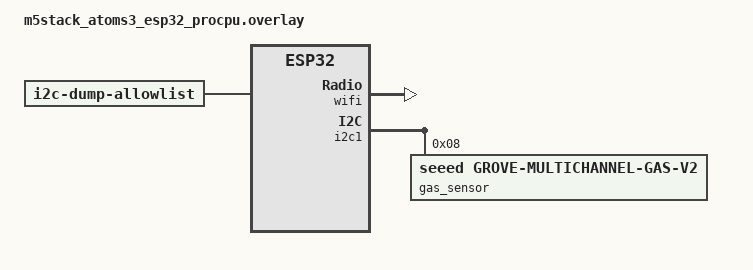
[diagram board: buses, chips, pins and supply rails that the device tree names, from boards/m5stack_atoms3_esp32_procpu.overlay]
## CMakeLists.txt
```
#-------------------------------------------------------------------------------
# Zephyr Example Application
#
# Copyright (c) 2021 Nordic Semiconductor ASA
# SPDX-License-Identifier: Apache-2.0

cmake_minimum_required(VERSION 3.13.1)
find_package(Zephyr REQUIRED HINTS $ENV{ZEPHYR_BASE})

project(app LANGUAGES C)

target_sources(app PRIVATE
        src/main.c
        src/sensor_acquisition.c
        src/inference.cpp
        )

target_sources_ifdef(CONFIG_DISPLAY app PRIVATE
        src/gui.c
        src/gui_screens/live_chart.c
        )

target_sources_ifdef(CONFIG_APP_MQTT app PRIVATE
        src/mqtt.c
        )

include(edge-impulse-sdk/cmake/utils.cmake)

# Add the Edge Impulse SDK
add_subdirectory(edge-impulse-sdk/cmake/zephyr)

# Add model sources
target_sources(app PRIVATE
    tflite-model/tflite_learn_143_compiled.cpp
    )

# Edge impulse SDK include directories
set(INCLUDES
    .
    include
    tflite-model
    model-parameters
    )
include_directories(${INCLUDES})
```

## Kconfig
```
# Copyright (c) 2021 Nordic Semiconductor ASA
# SPDX-License-Identifier: Apache-2.0
#
# This file is the application Kconfig entry point. All application Kconfig
# options can be defined here or included via other application Kconfig files.
# You can browse these options using the west targets menuconfig (terminal) or
# guiconfig (GUI).

menu "Zephyr"
source "Kconfig.zephyr"
endmenu

menu "Artificial Nose"

module = APP
module-str = APP
source "subsys/logging/Kconfig.template.log_config"

config APP_INFERENCE_PERIOD
        int "Model inference period (milliseconds)"
        default 250
        range 50 1000
        help
          How often to run the model inference.

config APP_PRINT_SENSOR_VALUES
        bool "Print sensor values"
        default n
        help
          Print sensor values to the console (useful with the Edge Impulse Forwarder).

menuconfig APP_MQTT
        bool "Enable MQTT"
        default n
        imply NETWORKING
        imply NET_CONNECTION_MANAGER
        imply NET_DHCPV4
        imply DNS_RESOLVER
        imply NET_TCP
        imply MQTT_LIB
        imply HWINFO       # used to compute the client ID
        help
          Enable MQTT support.

if APP_MQTT

config APP_MQTT_BROKER_HOSTNAME
        string "MQTT broker hostname"
        default "broker.hivemq.com"
        help
          Hostname of the MQTT broker.

config APP_MQTT_BROKER_PORT
        int "MQTT broker port"
        default 1883
        help
          Port of the MQTT broker.

endif # APP_MQTT

endmenu # Artificial Nose
```

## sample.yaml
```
# This file is provided so that the application can be compiled using Twister,
# the Zephyr testing tool. In this file, multiple combinations can be specified,
# so that you can easily test all of them locally or in CI.
sample:
  description: Artificial Nose
  name: artificial-nose
common:
  build_only: true
  integration_platforms:
    - m5stack_core2/esp32/procpu
    - wio_terminal
    - m5stack_atoms3/esp32s3/procpu
tests:
  app.default: {}
  app.debug:
    extra_overlay_confs:
      - debug.conf
```

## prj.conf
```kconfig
CONFIG_I2C=y
CONFIG_SENSOR=y
CONFIG_RING_BUFFER=y

CONFIG_SHELL=y
CONFIG_SENSOR_SHELL=y
# General logging stuff
CONFIG_LOG=y
CONFIG_APP_LOG_LEVEL_ERR=y
CONFIG_LOG_BUFFER_SIZE=2048
# I2C logging
# CONFIG_I2C_DUMP_MESSAGES=y
# CONFIG_I2C_LOG_LEVEL_DBG=y
# CONFIG_I2C_DUMP_MESSAGES_ALLOWLIST=y

# Edge Impulse
CONFIG_CPP=y
CONFIG_REQUIRES_FULL_LIBCPP=y

# GUI
CONFIG_DISPLAY=y
CONFIG_LVGL=y
CONFIG_LV_CONF_MINIMAL=y # by using minimal config, we can only use the features we need and save
                         # 10s of KB of ROM
CONFIG_LV_DRAW_COMPLEX=y
CONFIG_LV_Z_MEM_POOL_SIZE=16384
CONFIG_DISPLAY_LOG_LEVEL_ERR=y
CONFIG_LV_MEM_CUSTOM=y
CONFIG_LV_USE_LOG=y
CONFIG_LV_USE_CHART=y
CONFIG_LV_USE_LABEL=y
CONFIG_LV_USE_LINE=y
CONFIG_LV_USE_METER=y
CONFIG_LV_USE_BTN=y
CONFIG_LV_FONT_MONTSERRAT_14=y
CONFIG_LV_FONT_MONTSERRAT_8=y
CONFIG_LV_FONT_DEFAULT_MONTSERRAT_14=y
CONFIG_LV_USE_THEME_DEFAULT=y

# zbus for inter-thread communication
CONFIG_ZBUS=y
CONFIG_ZBUS_RUNTIME_OBSERVERS=y
CONFIG_ZBUS_CHANNEL_NAME=y
CONFIG_ZBUS_LOG_LEVEL_WRN=y

# Networking
CONFIG_NETWORKING=y
CONFIG_NET_TCP=y
CONFIG_HWINFO=y
```

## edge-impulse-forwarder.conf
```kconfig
CONFIG_LOG=n
CONFIG_APP_PRINT_SENSOR_VALUES=y
```

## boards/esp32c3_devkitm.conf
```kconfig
CONFIG_LV_COLOR_16_SWAP=y
# enable entropy generator since it's needed to simulate gas sensor data
CONFIG_ENTROPY_GENERATOR=y
```

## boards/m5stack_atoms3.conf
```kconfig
CONFIG_WIFI=y
CONFIG_NET_L2_ETHERNET=y
CONFIG_NET_L2_WIFI_SHELL=y
CONFIG_NET_IPV6=n
CONFIG_NET_IPV4=y
CONFIG_NET_DHCPV4=y
CONFIG_ESP32_WIFI_STA_AUTO_DHCPV4=y
```

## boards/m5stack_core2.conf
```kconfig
CONFIG_WIFI=y
CONFIG_NET_L2_ETHERNET=y
CONFIG_NET_L2_WIFI_SHELL=y
CONFIG_NET_IPV6=n
CONFIG_NET_IPV4=y
CONFIG_NET_DHCPV4=y
CONFIG_ESP32_WIFI_STA_AUTO_DHCPV4=y

CONFIG_HEAP_MEM_POOL_SIZE=90000
CONFIG_HEAP_MEM_POOL_IGNORE_MIN=y
CONFIG_ESP_SPIRAM=y
CONFIG_ESP32_WIFI_NET_ALLOC_SPIRAM=y
```

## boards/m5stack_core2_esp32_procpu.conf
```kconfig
CONFIG_WIFI=y
CONFIG_NET_L2_ETHERNET=y
CONFIG_NET_L2_WIFI_SHELL=y
CONFIG_NET_IPV6=n
CONFIG_NET_IPV4=y
CONFIG_NET_DHCPV4=y
CONFIG_ESP32_WIFI_STA_AUTO_DHCPV4=y

CONFIG_HEAP_MEM_POOL_SIZE=55000

CONFIG_HEAP_MEM_POOL_IGNORE_MIN=y
CONFIG_ESP_SPIRAM=y
CONFIG_ESP32_WIFI_NET_ALLOC_SPIRAM=y
CONFIG_ESP_SPIRAM_HEAP_SIZE=400000
```

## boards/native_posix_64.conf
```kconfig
CONFIG_HEAP_MEM_POOL_SIZE=1024
CONFIG_TEST_RANDOM_GENERATOR=y # temporary, only for generating fake charts
CONFIG_SDL_DISPLAY_ZOOM_PCT=200
```

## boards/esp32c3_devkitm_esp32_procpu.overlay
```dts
/ {
        chosen {
                zephyr,display = &ili9341;
        };
};

&spi2 {
        ili9341: ili9341@0 {
                compatible = "ilitek,ili9341";
                cmd-data-gpios = <&gpio0 0 GPIO_ACTIVE_LOW>;
                reg = <0x0>;
                spi-max-frequency = <25000000>;
                width = <240>;
                height = <320>;
        };
};
```

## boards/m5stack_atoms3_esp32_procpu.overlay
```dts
&wifi {
	status = "okay";
};


&i2c1 {
	status = "okay";

	gas_sensor: gas_sensor@8 {
		status = "okay";
		compatible = "seeed,grove-multichannel-gas-v2";
		reg = <0x08>;
	};
};

/ {
	i2c-dump-allowlist {
		compatible = "zephyr,i2c-dump-allowlist";
		devices = <&gas_sensor>;
	};
};
```

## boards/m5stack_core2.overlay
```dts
&i2c1 {
	status = "okay";

	/**
	 * Note: VCC on grove port is connected to VBUS output of AXP192
	 * As of Zephyr 3.5, the AXP192 driver does not support VBUS so getting I2C1 to work
	 * requires adding the following lines at the end of regulator_axp192_init():
	 *
	 *	ret = i2c_reg_update_byte_dt(&config->i2c, 0x10, 0x04, 0x04);
	 *	ret = i2c_reg_update_byte_dt(&config->i2c, 0x90, 0x07, 0x07);
	 */

	gas_sensor: gas_sensor@8 {
		status = "okay";
		compatible = "seeed,grove-multichannel-gas-v2";
		reg = <0x08>;
	};
};

/ {
	i2c-dump-allowlist {
		compatible = "zephyr,i2c-dump-allowlist";
		devices = <&gas_sensor>;
	};
};
```

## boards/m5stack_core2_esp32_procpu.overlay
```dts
&wifi {
	status = "okay";

};

&i2c1 {
	status = "okay";

	/**
	 * Note: VCC on grove port is connected to VBUS output of AXP192
	 * As of Zephyr 3.5, the AXP192 driver does not support VBUS so getting I2C1 to work
	 * requires adding the following lines at the end of regulator_axp192_init():
	 *
	 *	ret = i2c_reg_update_byte_dt(&config->i2c, 0x10, 0x04, 0x04);
	 *	ret = i2c_reg_update_byte_dt(&config->i2c, 0x90, 0x07, 0x07);
	 */

	gas_sensor: gas_sensor@8 {
		status = "okay";
		compatible = "seeed,grove-multichannel-gas-v2";
		reg = <0x08>;
	};
};

/ {
	i2c-dump-allowlist {
		compatible = "zephyr,i2c-dump-allowlist";
		devices = <&gas_sensor>;
	};
};

&psram0 {
	status = "okay";
};
```

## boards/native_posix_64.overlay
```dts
/*
 * Copyright (c) 2023, Fabian Blatz <fabianblatz@gmail.com>
 *
 * SPDX-License-Identifier: Apache-2.0
 */

 &sdl_dc {
	compatible = "zephyr,sdl-dc";
	height = <480>;
	width = <640>;
};
```

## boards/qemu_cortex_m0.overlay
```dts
&pinctrl {
	i2c0_default: i2c0_default {
		group1 {
			psels = <NRF_PSEL(TWIM_SDA, 0, 30)>,
				<NRF_PSEL(TWIM_SCL, 0, 0)>;
		};
	};

	i2c0_sleep: i2c0_sleep {
		group1 {
			psels = <NRF_PSEL(TWIM_SDA, 0, 30)>,
				<NRF_PSEL(TWIM_SCL, 0, 0)>;
			low-power-enable;
		};
	};
};


&i2c0 {
        status = "okay";
        pinctrl-0 = <&i2c0_default>;
        pinctrl-1= <&i2c0_sleep>;
};
```

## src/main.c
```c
/*
 * Copyright (c) 2021 Nordic Semiconductor ASA
 * SPDX-License-Identifier: Apache-2.0
 */

#include <zephyr/kernel.h>
#include <zephyr/drivers/sensor.h>
#include <zephyr/zbus/zbus.h>
#include <app_version.h>

#include <zephyr/logging/log.h>
LOG_MODULE_REGISTER(main, CONFIG_APP_LOG_LEVEL);

#include "app_threads.h"
#include "zbus_messages.h"

ZBUS_CHAN_DEFINE(inference_result_chan,       /* Name */
		 struct inference_result_msg, /* Message type */
		 NULL,                        /* Validator */
		 NULL,                        /* User data */
		 ZBUS_OBSERVERS_EMPTY,        /* observers */
		 ZBUS_MSG_INIT(0)             /* Initial value */
);

/*
 * The main thread is used to initialize and start all the threads that participate in the
 * application.
 *
 * - Sensor acquisition thread
 * - GUI thread
 * - Inference thread
 */
int main(void)
{
	/* Create sensor thread */
	k_thread_create(&sensor_acquisition_thread, sensor_acquisition_thread_stack,
			K_THREAD_STACK_SIZEOF(sensor_acquisition_thread_stack),
			sensor_acquisition_fn, NULL, NULL, NULL, K_PRIO_PREEMPT(1), 0, K_NO_WAIT);
	k_thread_name_set(&sensor_acquisition_thread, "Sensor Acquisition");

#ifdef CONFIG_DISPLAY
	/* Create GUI thread */
	k_thread_create(&gui_thread, gui_thread_stack, K_THREAD_STACK_SIZEOF(gui_thread_stack),
			gui_fn, NULL, NULL, NULL, K_PRIO_PREEMPT(5), 0, K_NO_WAIT);
	k_thread_name_set(&gui_thread, "GUI");
#endif

#ifdef CONFIG_APP_MQTT
	/* Create MQTT pub thread */
	k_thread_create(&mqtt_pub_thread, mqtt_pub_thread_stack,
			K_THREAD_STACK_SIZEOF(mqtt_pub_thread_stack), mqtt_pub_fn, NULL, NULL, NULL,
			K_PRIO_PREEMPT(20), 0, K_NO_WAIT);
	k_thread_name_set(&mqtt_pub_thread, "MQTT Publisher");
#endif

	/* Create inference thread */
	k_thread_create(&inference_thread, inference_thread_stack,
			K_THREAD_STACK_SIZEOF(inference_thread_stack), inference_fn, NULL, NULL,
			NULL, K_PRIO_PREEMPT(15), 0, K_NO_WAIT);
	k_thread_name_set(&inference_thread, "Inference (Edge Impulse)");

	printk("Artificial Nose - Zephyr powered %s\n", APP_VERSION_STRING);

	while (1) {
		k_sleep(K_FOREVER);
	}

	return 0;
}
```

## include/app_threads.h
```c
#include <zephyr/kernel.h>

#ifndef __APP_THREADS_H_
#define __APP_THREADS_H_

/**********************************/
/* Sensor acquisition thread      */
/**********************************/
K_THREAD_STACK_DEFINE(sensor_acquisition_thread_stack, 1024);
struct k_thread sensor_acquisition_thread;
void sensor_acquisition_fn(void *arg1, void *arg2, void *arg3);

/**********************************/
/* GUI thread                     */
/**********************************/
#ifdef CONFIG_DISPLAY
K_THREAD_STACK_DEFINE(gui_thread_stack, 4000);
struct k_thread gui_thread;
void gui_fn(void *arg1, void *arg2, void *arg3);
#endif

/**********************************/
/* Inference thread               */
/**********************************/
K_THREAD_STACK_DEFINE(inference_thread_stack, 2000);
struct k_thread inference_thread;
void inference_fn(void *arg1, void *arg2, void *arg3);

#ifdef CONFIG_APP_MQTT
/**********************************/
/* MQTT pub thread                */
/**********************************/
K_THREAD_STACK_DEFINE(mqtt_pub_thread_stack, 512);
struct k_thread mqtt_pub_thread;
void mqtt_pub_fn(void *arg1, void *arg2, void *arg3);
#endif

#endif /* __APP_THREADS_H_ */
```

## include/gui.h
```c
#ifndef __APP_GUI_H_
#define __APP_GUI_H_

void create_sensor_chart(lv_obj_t *parent);

#endif /* __APP_GUI_H_ */
```

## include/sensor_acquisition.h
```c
#ifndef __APP_SENSOR_ACQUISITION_H__
#define __APP_SENSOR_ACQUISITION_H__

#include <zephyr/kernel.h>

#define NUM_SAMPLES CONFIG_GAS_SENSOR_NUM_SAMPLES

#endif /* __APP_SENSOR_ACQUISITION_H__ */
```

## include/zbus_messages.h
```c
#ifndef __APP_ZBUS_MESSAGES_H__
#define __APP_ZBUS_MESSAGES_H__

struct inference_result_msg {
	char label[16];
	float confidence;
	float anomaly_score;
};

#endif /* __APP_ZBUS_MESSAGES_H__ */
```

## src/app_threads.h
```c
#include <zephyr/kernel.h>

/**********************************/
/* Sensor acquisition thread      */
/**********************************/
K_THREAD_STACK_DEFINE(sensor_acquisition_thread_stack, 512);
struct k_thread sensor_acquisition_thread;
void sensor_acquisition_fn(void *arg1, void *arg2, void *arg3);

/**********************************/
/* GUI thread                     */
/**********************************/
K_THREAD_STACK_DEFINE(gui_thread_stack, 16000);
struct k_thread gui_thread;
void gui_fn(void *arg1, void *arg2, void *arg3);
```

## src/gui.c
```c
#include <zephyr/kernel.h>
#include <zephyr/drivers/sensor.h>
#include <zephyr/drivers/display.h>
#include <lvgl.h>

#include "gui.h"

#include <zephyr/logging/log.h>
LOG_MODULE_REGISTER(gui_thread, CONFIG_APP_LOG_LEVEL);

/*
 * Entry point for the GUI thread.
 *
 * This thread is responsible for creating the GUI and running the LVGL event loop.
 */
void gui_fn(void *arg1, void *arg2, void *arg3)
{
	ARG_UNUSED(arg1);
	ARG_UNUSED(arg2);
	ARG_UNUSED(arg3);

	const struct device *display_dev;

	display_dev = DEVICE_DT_GET(DT_CHOSEN(zephyr_display));
	if (!device_is_ready(display_dev)) {
		LOG_ERR("Display device not ready");
		while (1) {
		}
	}

	create_sensor_chart(lv_scr_act());

	lv_task_handler();
	display_blanking_off(display_dev);

	while (1) {
		lv_task_handler();
		k_sleep(K_MSEC(10));
	}
}
```

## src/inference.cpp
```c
#include <zephyr/kernel.h>
#include <zephyr/sys/ring_buffer.h>
#include <zephyr/zbus/zbus.h>

#include "edge-impulse-sdk/classifier/ei_run_classifier.h"
#include "edge-impulse-sdk/dsp/numpy.hpp"
#include <cfloat>

#include "sensor_acquisition.h"
#include "zbus_messages.h"

#include <zephyr/logging/log.h>
LOG_MODULE_REGISTER(inference_thread, CONFIG_APP_LOG_LEVEL);

#ifdef __cplusplus
extern "C" {
#endif

extern struct k_sem sensor_data_ringbuf_sem;
extern struct ring_buf sensor_data_ringbuf;

int raw_feature_get_data(size_t offset, size_t length, float *out_ptr)
{
	__ASSERT(offset == 0, "Only offset 0 is supported");

	k_sem_take(&sensor_data_ringbuf_sem, K_FOREVER);

	uint32_t buf[EI_CLASSIFIER_DSP_INPUT_FRAME_SIZE];
	ring_buf_peek(&sensor_data_ringbuf, (uint8_t *)&buf, EI_CLASSIFIER_DSP_INPUT_FRAME_SIZE * sizeof(uint32_t));
	k_sem_give(&sensor_data_ringbuf_sem);

	for (int i = 0; i < EI_CLASSIFIER_DSP_INPUT_FRAME_SIZE; i++) {
		out_ptr[i] = (float)buf[i];
	}

	return 0;
}

ZBUS_CHAN_DECLARE(inference_result_chan);

/**
 * Entry point for the inference thread.
 *
 * This thread is responsible for running inference on the sensor data, using a model trained in
 * Edge Impulse.
 * The result of the inference are published on a zbus channel for other threads to
 * consume (ex. the GUI thread might want to display the results).
 */
void inference_fn(void *arg1, void *arg2, void *arg3)
{
	ei_impulse_result_t result = {0};

	while (1) {
		/* do not run inference until we have enough data */
		k_sem_take(&sensor_data_ringbuf_sem, K_FOREVER);
		if (ring_buf_space_get(&sensor_data_ringbuf) > 0) {
			k_sem_give(&sensor_data_ringbuf_sem);
			k_msleep(500);
			continue;
		}
		k_sem_give(&sensor_data_ringbuf_sem);

		signal_t features_signal;
		features_signal.total_length = EI_CLASSIFIER_DSP_INPUT_FRAME_SIZE;
		features_signal.get_data = &raw_feature_get_data;

		/* invoke the impulse */
		EI_IMPULSE_ERROR res = run_classifier(&features_signal, &result, false);

		if (res != 0) {
			LOG_ERR("run_classifier returned: %d\n", res);
			continue;
		}

		LOG_DBG("Predictions (DSP: %d ms., Classification: %d ms., Anomaly: %d "
			"ms.): \n",
			result.timing.dsp, result.timing.classification, result.timing.anomaly);
		for (size_t ix = 0; ix < EI_CLASSIFIER_LABEL_COUNT; ix++) {
			LOG_DBG("    %s: %.5f\n", result.classification[ix].label,
				result.classification[ix].value);
		}
#if EI_CLASSIFIER_HAS_ANOMALY == 1
		LOG_DBG("    anomaly score: %.3f\n", result.anomaly);
#endif

		/* Figure out what the strongest prediction is */
		size_t best_prediction = 0;
		for (size_t ix = 0; ix < EI_CLASSIFIER_LABEL_COUNT; ix++) {
			if (result.classification[ix].value >=
			    result.classification[best_prediction].value) {
				best_prediction = ix;
			}
		}

		/* Make inference result available via dedicated zbus channel */
		inference_result_msg inf;
		strncpy(inf.label, result.classification[best_prediction].label, sizeof(inf.label));
		inf.confidence = result.classification[best_prediction].value;
		inf.anomaly_score = result.anomaly;

		zbus_chan_pub(&inference_result_chan, &inf, K_MSEC(200));

		k_msleep(CONFIG_APP_INFERENCE_PERIOD);
	}
}

#ifdef __cplusplus
}
#endif
```

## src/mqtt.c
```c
#include <zephyr/kernel.h>
#include <zephyr/drivers/hwinfo.h>

#include <zephyr/net/conn_mgr_monitor.h>
#include <zephyr/net/net_mgmt.h>
#include <zephyr/net/socket.h>
#include <zephyr/net/mqtt.h>

#include "zbus_messages.h"
#include <zephyr/zbus/zbus.h>

#ifdef __cplusplus
extern "C" {
#endif

#include <zephyr/logging/log.h>
LOG_MODULE_REGISTER(mqtt, LOG_LEVEL_DBG);

#include <zephyr/kernel.h>
#include <zephyr/net/socket.h>
#include <zephyr/net/mqtt.h>

#include <zephyr/sys/printk.h>
#include <zephyr/random/random.h>
#include <string.h>
#include <errno.h>

#define SERVER_ADDR          CONFIG_APP_MQTT_BROKER_HOSTNAME
#define SERVER_PORT          CONFIG_APP_MQTT_BROKER_PORT
#define APP_SLEEP_MSECS      8000
#define APP_MQTT_BUFFER_SIZE 200

/* Buffers for MQTT client. */
static uint8_t rx_buffer[APP_MQTT_BUFFER_SIZE];
static uint8_t tx_buffer[APP_MQTT_BUFFER_SIZE];

/* The mqtt client struct */
static struct mqtt_client client_ctx;

/* MQTT Broker details. */
static struct sockaddr_storage broker;

/* Socket Poll */
static struct zsock_pollfd fds[1];
static int nfds;

static bool mqtt_connected;

static struct k_work_delayable pub_message;
#if defined(CONFIG_NET_DHCPV4)
static struct k_work_delayable check_network_conn;

/* Network Management events */
#define L4_EVENT_MASK (NET_EVENT_L4_CONNECTED | NET_EVENT_L4_DISCONNECTED)

static struct net_mgmt_event_callback l4_mgmt_cb;
#endif

#if defined(CONFIG_DNS_RESOLVER)
static struct zsock_addrinfo hints;
static struct zsock_addrinfo *haddr;
#endif

static K_SEM_DEFINE(mqtt_start, 0, 1);

static void mqtt_event_handler(struct mqtt_client *const client, const struct mqtt_evt *evt);

static void prepare_fds(struct mqtt_client *client)
{
	fds[0].events = ZSOCK_POLLIN;
	nfds = 1;
}

static void clear_fds(void)
{
	nfds = 0;
}

static int wait(int timeout)
{
	int rc = -EINVAL;

	if (nfds <= 0) {
		return rc;
	}

	rc = zsock_poll(fds, nfds, timeout);
	if (rc < 0) {
		LOG_ERR("poll error: %d", errno);
		return -errno;
	}

	return rc;
}

static void broker_init(void)
{
	struct sockaddr_in *broker4 = (struct sockaddr_in *)&broker;

	broker4->sin_family = AF_INET;
	broker4->sin_port = htons(SERVER_PORT);

#if defined(CONFIG_DNS_RESOLVER)
	net_ipaddr_copy(&broker4->sin_addr, &net_sin(haddr->ai_addr)->sin_addr);
#else
	zsock_inet_pton(AF_INET, SERVER_ADDR, &broker4->sin_addr);
#endif
}

bool get_device_id(char *id, int id_max_len)
{
	uint8_t hwinfo_id[32];
	ssize_t length;

	length = hwinfo_get_device_id(hwinfo_id, 32);
	if (length <= 0) {
		return false;
	}

	memset(id, 0, id_max_len);
	length = bin2hex(hwinfo_id, (size_t)length, id, id_max_len);

	return length > 0;
}

static void client_init(struct mqtt_client *client)
{
	mqtt_client_init(client);

	broker_init();

	char hr_addr[NET_IPV4_ADDR_LEN];
	char *hr_family = "IPv4";

	/* MQTT client configuration */
	client->broker = &broker;
	client->evt_cb = mqtt_event_handler;

	char client_id[32];
	if (!get_device_id(client_id, 32)) {
		strcpy(client_id, "ai-nose-123"); // hardcoded ID if hwinfo fails
	}

	client->client_id.utf8 = (uint8_t *)client_id;
	client->client_id.size = strlen(client_id);

	client->protocol_version = MQTT_VERSION_3_1_1;

	/* MQTT buffers configuration */
	client->rx_buf = rx_buffer;
	client->rx_buf_size = sizeof(rx_buffer);
	client->tx_buf = tx_buffer;
	client->tx_buf_size = sizeof(tx_buffer);

	/* MQTT transport configuration */
	client->transport.type = MQTT_TRANSPORT_NON_SECURE;
}

static void mqtt_event_handler(struct mqtt_client *const client, const struct mqtt_evt *evt)
{
	struct mqtt_puback_param puback;
	uint8_t data[33];
	int len;
	int bytes_read;

	switch (evt->type) {
	case MQTT_EVT_CONNACK:
		if (evt->result) {
			LOG_ERR("MQTT connect failed %d", evt->result);
			break;
		}

		mqtt_connected = true;
		LOG_DBG("MQTT client connected!");
		break;

	case MQTT_EVT_DISCONNECT:
		LOG_DBG("MQTT client disconnected %d", evt->result);

		mqtt_connected = false;
		clear_fds();
		break;

	case MQTT_EVT_PUBLISH:
		len = evt->param.publish.message.payload.len;

		LOG_INF("MQTT publish received %d, %d bytes", evt->result, len);
		LOG_INF(" id: %d, qos: %d", evt->param.publish.message_id,
			evt->param.publish.message.topic.qos);

		while (len) {
			bytes_read = mqtt_read_publish_payload(
				&client_ctx, data,
				len >= sizeof(data) - 1 ? sizeof(data) - 1 : len);
			if (bytes_read < 0 && bytes_read != -EAGAIN) {
				LOG_ERR("failure to read payload");
				break;
			}

			data[bytes_read] = '\0';
			LOG_INF("   payload: %s", data);
			len -= bytes_read;
		}

		puback.message_id = evt->param.publish.message_id;
		mqtt_publish_qos1_ack(&client_ctx, &puback);
		break;

	default:
		LOG_DBG("Unhandled MQTT event %d", evt->type);
		break;
	}
}

static int publish(struct mqtt_client *client, const char *topic, const char *payload,
		   enum mqtt_qos qos)
{
	uint8_t len = strlen(topic);
	struct mqtt_publish_param param;

	param.message.topic.qos = qos;
	param.message.topic.topic.utf8 = (uint8_t *)topic;
	param.message.topic.topic.size = len;
	param.message.payload.data = payload;
	param.message.payload.len = strlen(payload);
	param.message_id = sys_rand32_get();
	param.dup_flag = 0U;
	param.retain_flag = 0U;

	return mqtt_publish(client, &param);
}

static void poll_mqtt(void)
{
	int rc;

	while (mqtt_connected) {
		rc = wait(SYS_FOREVER_MS);
		if (rc > 0) {
			mqtt_input(&client_ctx);
		}
	}
}

static int try_to_connect(struct mqtt_client *client)
{
	uint8_t retries = 3U;
	int rc;

	LOG_DBG("attempting to connect...");

	while (retries--) {
		client_init(client);

		rc = mqtt_connect(client);
		if (rc) {
			LOG_ERR("mqtt_connect failed %d", rc);
			continue;
		}

		prepare_fds(client);

		rc = wait(APP_SLEEP_MSECS);
		if (rc < 0) {
			mqtt_abort(client);
			return rc;
		}

		mqtt_input(client);

		if (mqtt_connected) {
			// k_work_reschedule(&pub_message, K_SECONDS(timeout_for_publish()));
			return 0;
		}

		mqtt_abort(client);

		wait(10 * MSEC_PER_SEC);
	}

	return -EINVAL;
}

#if defined(CONFIG_DNS_RESOLVER)
static int get_mqtt_broker_addrinfo(void)
{
	int retries = 3;
	int rc = -EINVAL;

	while (retries--) {
		hints.ai_family = AF_INET;
		hints.ai_socktype = SOCK_STREAM;
		hints.ai_protocol = 0;

		rc = zsock_getaddrinfo(SERVER_ADDR, "1883", &hints, &haddr);
		if (rc == 0) {
			LOG_INF("DNS resolved for %s:%d", SERVER_ADDR, 1883);

			return 0;
		}

		LOG_ERR("DNS not resolved for %s:%d, retrying", SERVER_ADDR, 1883);
	}

	return rc;
}
#endif

static void connect_to_mqtt_broker(void)
{
	int rc = -EINVAL;

#if defined(CONFIG_NET_DHCPV4)
	while (true) {
		k_sem_take(&mqtt_start, K_FOREVER);
#endif
#if defined(CONFIG_DNS_RESOLVER)
		rc = get_mqtt_broker_addrinfo();
		if (rc) {
			return;
		}
#endif
		rc = try_to_connect(&client_ctx);
		if (rc) {
			return;
		}

		poll_mqtt();
#if defined(CONFIG_NET_DHCPV4)
	}
#endif
}

/* DHCP tries to renew the address after interface is down and up.
 * If DHCPv4 address renewal is success, then it doesn't generate
 * any event. We have to monitor this way.
 * If DHCPv4 attempts exceeds maximum number, it will delete iface
 * address and attempts for new request. In this case we can rely
 * on IPV4_ADDR_ADD event.
 */
#if defined(CONFIG_NET_DHCPV4)
static void check_network_connection(struct k_work *work)
{
	struct net_if *iface;

	if (mqtt_connected) {
		return;
	}

	iface = net_if_get_default();
	if (!iface) {
		goto end;
	}

	if (iface->config.dhcpv4.state == NET_DHCPV4_BOUND) {
		k_sem_give(&mqtt_start);
		return;
	}

	LOG_INF("waiting for DHCP to acquire addr");

end:
	k_work_reschedule(&check_network_conn, K_SECONDS(3));
}
#endif

#if defined(CONFIG_NET_DHCPV4)
static void abort_mqtt_connection(void)
{
	if (mqtt_connected) {
		mqtt_connected = false;
		mqtt_abort(&client_ctx);
		k_work_cancel_delayable(&pub_message);
	}
}

static void l4_event_handler(struct net_mgmt_event_callback *cb, uint32_t mgmt_event,
			     struct net_if *iface)
{
	if ((mgmt_event & L4_EVENT_MASK) != mgmt_event) {
		return;
	}

	if (mgmt_event == NET_EVENT_L4_CONNECTED) {
		/* Wait for DHCP to be back in BOUND state */
		k_work_reschedule(&check_network_conn, K_SECONDS(3));

		return;
	}

	if (mgmt_event == NET_EVENT_L4_DISCONNECTED) {
		abort_mqtt_connection();
		k_work_cancel_delayable(&check_network_conn);

		return;
	}
}
#endif

ZBUS_CHAN_DECLARE(inference_result_chan);

/**
 * Zbus callback for inference results
 *
 * Called every time a new message is published to the inference result channel
 */
static void inference_cb(const struct zbus_channel *chan)
{
	int rc;
	struct inference_result_msg msg;
	zbus_chan_read(chan, &msg, K_MSEC(200));

	if (mqtt_connected) {
		rc = publish(&client_ctx, "smell/label", msg.label, MQTT_QOS_0_AT_MOST_ONCE);
		if (rc) {
			LOG_ERR("mqtt_publish ERROR");
		}

		char confidence[10];
		sprintf(confidence, "%0.2f", msg.confidence);
		rc = publish(&client_ctx, "smell/confidence", confidence, MQTT_QOS_0_AT_MOST_ONCE);
		if (rc) {
			LOG_ERR("mqtt_publish ERROR");
		}
	}
}

ZBUS_LISTENER_DEFINE(mqtt_publisher_listener, inference_cb);

/**
 * Entry point for the MQTT publication thread.
 *
 * This thread is responsible for publishing the inference results to the MQTT
 * broker.
 * It subscribes to the inference result Zbus channel and publishes the results
 * to the MQTT broker.
 */
void mqtt_pub_fn(void *arg1, void *arg2, void *arg3)
{
	ARG_UNUSED(arg1);
	ARG_UNUSED(arg2);
	ARG_UNUSED(arg3);

	/* Add zbus observer to be notified of new inference results */
	zbus_chan_add_obs(&inference_result_chan, &mqtt_publisher_listener, K_MSEC(200));

#if defined(CONFIG_NET_DHCPV4)
	k_work_init_delayable(&check_network_conn, check_network_connection);

	net_mgmt_init_event_callback(&l4_mgmt_cb, l4_event_handler, L4_EVENT_MASK);
	net_mgmt_add_event_callback(&l4_mgmt_cb);
#endif

	connect_to_mqtt_broker();
}

#ifdef __cplusplus
}
#endif
```

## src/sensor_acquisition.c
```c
#include <zephyr/kernel.h>
#include <zephyr/drivers/sensor.h>
#include <zephyr/sys/ring_buffer.h>
#include <zephyr/sys/byteorder.h>
#include <zephyr/random/random.h>

#include "drivers/sensor/multichannel_gas_v2/grove_multichannel_gas_v2.h"
#include "sensor_acquisition.h"

#include "model-parameters/model_metadata.h"

#include <zephyr/logging/log.h>
LOG_MODULE_REGISTER(sensor_thread, CONFIG_APP_LOG_LEVEL);

#if DT_HAS_COMPAT_STATUS_OKAY(seeed_grove_multichannel_gas_v2)
const struct device *gas_sensor = DEVICE_DT_GET_ONE(seeed_grove_multichannel_gas_v2);
#else
const struct device *gas_sensor = NULL;
#endif

RING_BUF_DECLARE(sensor_data_ringbuf, EI_CLASSIFIER_DSP_INPUT_FRAME_SIZE * sizeof(uint32_t));
K_SEM_DEFINE(sensor_data_ringbuf_sem, 1, 1);

/**
 * Entry point for the sensor acquisition thread.
 *
 * This thread is responsible for fetching sensor data from the gas sensor and storing it in a
 * ring buffer.
 */
void sensor_acquisition_fn(void *arg1, void *arg2, void *arg3)
{
	ARG_UNUSED(arg1);
	ARG_UNUSED(arg2);
	ARG_UNUSED(arg3);

	struct sensor_value values[4];

	if (gas_sensor != NULL && !device_is_ready(gas_sensor)) {
		LOG_ERR("Gas sensor %s is not ready\n", gas_sensor->name);
		while (1) {
		}
	}

	while (1) {
		k_sleep(K_MSEC(EI_CLASSIFIER_INTERVAL_MS));

#if DT_HAS_COMPAT_STATUS_OKAY(seeed_grove_multichannel_gas_v2)

		if (sensor_sample_fetch(gas_sensor)) {
			LOG_ERR("Failed to fetch sample\n");
		}

		sensor_channel_get(gas_sensor, SENSOR_CHAN_NO2, &values[0]);
		sensor_channel_get(gas_sensor, SENSOR_CHAN_CO, &values[1]);
		sensor_channel_get(gas_sensor, SENSOR_CHAN_C2H5OH, &values[2]);
		sensor_channel_get(gas_sensor, SENSOR_CHAN_VOC, &values[3]);
#else
		values[0].val1 = 200 + sys_rand32_get() % 60 - 30;
		values[1].val1 = 10 + sys_rand32_get() % 5 - 2;
		values[2].val1 = 30 + sys_rand32_get() % 10 - 5;
		values[3].val1 = 4 + sys_rand32_get() % 2 - 1;
#endif

		k_sem_take(&sensor_data_ringbuf_sem, K_FOREVER);

		/* If buffer is full, remove the oldest set of samples */
		if (ring_buf_space_get(&sensor_data_ringbuf) == 0) {
			ring_buf_get(&sensor_data_ringbuf, NULL, 4 * 4);
		}

#ifdef CONFIG_APP_PRINT_SENSOR_VALUES
		printk("%d,%d,%d,%d\n", values[0].val1, values[1].val1, values[2].val1,
		       values[3].val1);
#endif

		uint8_t no2[4] = sys_uint32_to_array(values[0].val1);
		ring_buf_put(&sensor_data_ringbuf, no2, 4);

		uint8_t co[4] = sys_uint32_to_array(values[1].val1);
		ring_buf_put(&sensor_data_ringbuf, co, 4);

		uint8_t c2h5oh[4] = sys_uint32_to_array(values[2].val1);
		ring_buf_put(&sensor_data_ringbuf, c2h5oh, 4);

		uint8_t voc[4] = sys_uint32_to_array(values[3].val1);
		ring_buf_put(&sensor_data_ringbuf, voc, 4);

		k_sem_give(&sensor_data_ringbuf_sem);
	}
}
```
